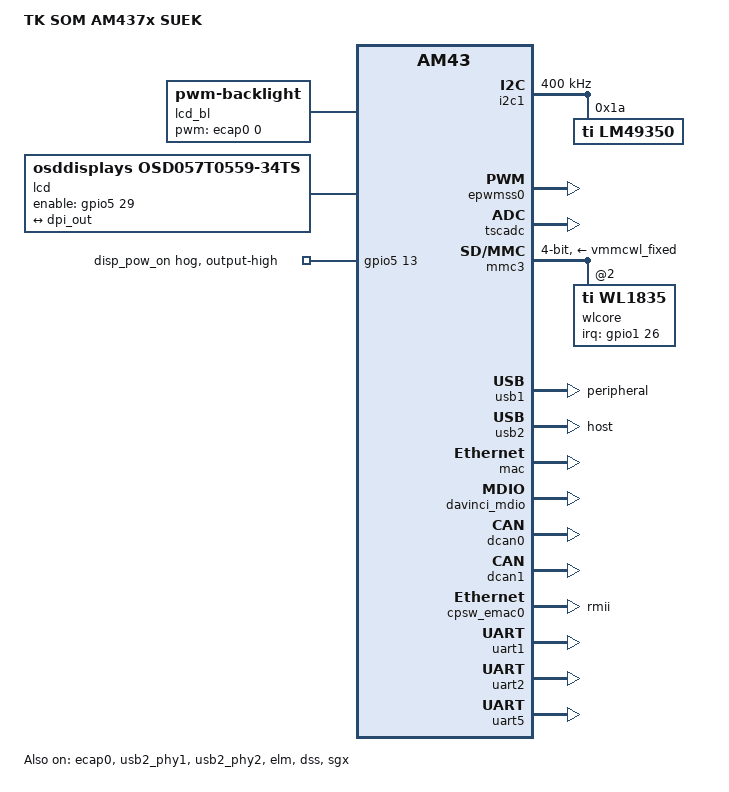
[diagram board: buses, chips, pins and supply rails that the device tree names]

/dts-v1/;

#include "am4372.dtsi"
#include "tk-som-am43xx.dtsi"
#include <dt-bindings/pinctrl/am43xx.h>
#include <dt-bindings/pwm/pwm.h>
#include <dt-bindings/gpio/gpio.h>
#include <dt-bindings/input/input.h>

/ {

	model = "TK SOM AM437x SUEK";
	compatible = "technokom,suek","ti,am4378","ti,am43";

	aliases {
		display0 = &lcd0;
	};


	lcd_bl: backlight {
		compatible = "pwm-backlight";
		pwms = <&ecap0 0 50000 0>;
		brightness-levels = <0 10 20 30 40 50 60 70 80 90 100 124 155 186 217 255>;
		default-brightness-level = <15>;
	};

	lcd0: display {
		compatible = "osddisplays,osd057T0559-34ts", "panel-dpi";
		label = "lcd";
		
		pinctrl-names = "default";
		pinctrl-0 = <&lvds_pin_shutdown>;
		enable-gpios = <&gpio5 29 GPIO_ACTIVE_HIGH>;

		panel-timing {
			clock-frequency = <33000000>;
			hactive = <1024>;
			vactive = <600>;
			hfront-porch = <210>;
			hback-porch = <16>;
			hsync-len = <30>;
			vback-porch = <10>;
			vfront-porch = <22>;
			vsync-len = <13>;
			hsync-active = <0>;
			vsync-active = <0>;
			de-active = <1>;
			pixelclk-active = <1>;
		};

		port {
			lcd_in: endpoint {
				remote-endpoint = <&dpi_out>;
			};
		};
	};

	sound0: sound@0 {
		compatible = "simple-audio-card";
		simple-audio-card,name = "AM437x-TK";
		simple-audio-card,widgets =
			"Headphone", "Headphone Jack",
			"Line", "Line In",
			"Speaker", "Speaker";
		simple-audio-card,routing =
			"Headphone Jack", "HPLOUT",
			"Headphone Jack", "HPROUT",
			"LINE1L", "Line In",
			"LINE1R", "Line In",
			"Speaker", "SPL",
			"Speaker", "SPR";
		simple-audio-card,format = "dsp_b";
		simple-audio-card,bitclock-master = <&sound0_master>;
		simple-audio-card,frame-master = <&sound0_master>;
		simple-audio-card,bitclock-inversion;

		simple-audio-card,cpu {
			sound-dai = <&mcasp1>;
			system-clock-frequency = <12000000>;
		};

		sound0_master: simple-audio-card,codec {
			sound-dai = <&lm49350>;
			system-clock-frequency = <12000000>;
		};
	};

};

&am43xx_pinmux {
	pinctrl-names = "default", "sleep";
	pinctrl-0 = <&wlan_pins_default>;


	dcan0_default: dcan0_default_pins {
		pinctrl-single,pins = <
			AM4372_IOPAD(0x91c, PIN_OUTPUT | MUX_MODE1)		/* (C16) mii1_txd3.dcan0_tx */
			AM4372_IOPAD(0x920, PIN_INPUT_PULLUP | MUX_MODE1)	/* (C13) mii1_txd2.dcan0_rx */
		>;
	};

	dcan0_sleep: dcan0_sleep_pins {
		pinctrl-single,pins = <
			AM4372_IOPAD(0x91c, PIN_INPUT_PULLUP | MUX_MODE7)	/* (C16) mii1_txd3 */
			AM4372_IOPAD(0x920, PIN_INPUT_PULLUP | MUX_MODE7)	/* (C13) mii1_txd2 */
		>;
	};

	dcan1_default: dcan1_default_pins {
		pinctrl-single,pins = <
			AM4372_IOPAD(0x980, PIN_OUTPUT | MUX_MODE2)		/* uart1_rxd.d_can1_tx */
			AM4372_IOPAD(0x984, PIN_INPUT_PULLUP | MUX_MODE2)	/* uart1_txd.d_can1_rx */
		>;
	};

	dcan1_sleep: dcan1_sleep_pins {
		pinctrl-single,pins = <
			AM4372_IOPAD(0x980, PIN_INPUT_PULLUP | MUX_MODE7)	/* uart1_rxd.gpio0_14 */
			AM4372_IOPAD(0x984, PIN_INPUT_PULLUP | MUX_MODE7)	/* uart1_txd.gpio0_15 */
		>;
	};

	i2c1_pins_default: i2c1_pins_default {
		pinctrl-single,pins = <
			AM4372_IOPAD(0xa40, PIN_INPUT_PULLUP | SLEWCTRL_FAST | MUX_MODE1)  /* (G20) gpio5_10.I2C1_SCL */
			AM4372_IOPAD(0xa48, PIN_INPUT_PULLUP | SLEWCTRL_FAST | MUX_MODE1)  /* (E25) gpio5_12.I2C1_SDA */
		>;
	};

	mmc2_pins: pinmux_mmc2_pins {
		pinctrl-single,pins = <
			AM4372_IOPAD(0x88c, PIN_INPUT_PULLUP | MUX_MODE3 ) /* (A12) gpmc_clk.mmc2_clk */
			AM4372_IOPAD(0x888, PIN_INPUT_PULLUP | MUX_MODE3 ) /* (B12) gpmc_csn3.mmc2_cmd */
			AM4372_IOPAD(0x844, PIN_INPUT_PULLUP | MUX_MODE3 ) /* (C5) gpmc_a1.mmc2_dat0 */
			AM4372_IOPAD(0x848, PIN_INPUT_PULLUP | MUX_MODE3 ) /* (C6) gpmc_a2.mmc2_dat1 */
			AM4372_IOPAD(0x84c, PIN_INPUT_PULLUP | MUX_MODE3 ) /* (A4) gpmc_a3.mmc2_dat2 */
			AM4372_IOPAD(0x878, PIN_INPUT_PULLUP | MUX_MODE3 ) /* (A3) gpmc_be1n.mmc2_dat3 */
		>;
	};

	mmc2_sleep_pins: pinmux_mmc2_sleep_pins {
		pinctrl-single,pins = <
			AM4372_IOPAD(0x88c, PIN_INPUT_PULLDOWN | MUX_MODE7) /* (A12) gpmc_clk.mmc2_clk */
			AM4372_IOPAD(0x888, PIN_INPUT_PULLDOWN | MUX_MODE7) /* (B12) gpmc_csn3.mmc2_cmd */
			AM4372_IOPAD(0x844, PIN_INPUT_PULLDOWN | MUX_MODE7) /* (C5) gpmc_a1.mmc2_dat0 */
			AM4372_IOPAD(0x848, PIN_INPUT_PULLDOWN | MUX_MODE7) /* (C6) gpmc_a2.mmc2_dat1 */
			AM4372_IOPAD(0x84c, PIN_INPUT_PULLDOWN | MUX_MODE7) /* (A4) gpmc_a3.mmc2_dat2 */
			AM4372_IOPAD(0x878, PIN_INPUT_PULLDOWN | MUX_MODE7) /* (A3) gpmc_be1n.mmc2_dat3 */
		>;
	};

	ecap0_pins_default: backlight_pins_default {
		pinctrl-single,pins = <
			AM4372_IOPAD(0x964, PIN_OUTPUT_PULLUP | MUX_MODE0)       /* eCAP0_in_PWM0_out MODE0 */
		>;
	};

	ecap0_pins_sleep: backlight_pins_sleep {
		pinctrl-single,pins = <
			AM4372_IOPAD(0x964, MUX_MODE7)
		>;
	};


	cpsw_default: cpsw_default {
		pinctrl-single,pins = <
			AM4372_IOPAD(0x90c, PIN_INPUT_PULLUP | MUX_MODE1 ) /* (B14) mii1_crs.rmii1_crs_dv */
			AM4372_IOPAD(0x910, PIN_INPUT_PULLUP | MUX_MODE1 ) /* (B13) mii1_rx_er.rmii1_rxer */
			AM4372_IOPAD(0x914, PIN_OUTPUT_PULLDOWN | MUX_MODE1 ) /* (A13) mii1_tx_en.rmii1_txen */
			AM4372_IOPAD(0x928, PIN_OUTPUT_PULLDOWN | MUX_MODE1 ) /* (B15) mii1_txd0.rmii1_txd0 */
			AM4372_IOPAD(0x924, PIN_OUTPUT_PULLDOWN | MUX_MODE1 ) /* (A14) mii1_txd1.rmii1_txd1 */
			AM4372_IOPAD(0x940, PIN_INPUT | MUX_MODE1 ) /* (F17) mii1_rxd0.rmii1_rxd0 */
			AM4372_IOPAD(0x93c, PIN_INPUT | MUX_MODE1 ) /* (B16) mii1_rxd1.rmii1_rxd1 */
			AM4372_IOPAD(0x944, PIN_INPUT_PULLUP | MUX_MODE0 ) /* (A16) rmii1_ref_clk.rmii1_refclk */

		>;
	};

	cpsw_sleep: cpsw_sleep {
		pinctrl-single,pins = <
			AM4372_IOPAD(0x90c, PIN_INPUT_PULLDOWN | MUX_MODE7 )
			AM4372_IOPAD(0x910, PIN_INPUT_PULLDOWN | MUX_MODE7 )
			AM4372_IOPAD(0x914, PIN_INPUT_PULLDOWN | MUX_MODE7 )
			AM4372_IOPAD(0x928, PIN_INPUT_PULLDOWN | MUX_MODE7 )
			AM4372_IOPAD(0x924, PIN_INPUT_PULLDOWN | MUX_MODE7 )
			AM4372_IOPAD(0x940, PIN_INPUT_PULLDOWN | MUX_MODE7 )
			AM4372_IOPAD(0x93c, PIN_INPUT_PULLDOWN | MUX_MODE7 )
			AM4372_IOPAD(0x944, PIN_INPUT_PULLDOWN | MUX_MODE7 )
		>;
	};

	davinci_mdio_default: davinci_mdio_default {
		pinctrl-single,pins = <
			/* MDIO */
			AM4372_IOPAD(0x948, PIN_INPUT_PULLUP | SLEWCTRL_FAST | MUX_MODE0)	/* mdio_data.mdio_data */
			AM4372_IOPAD(0x94c, PIN_OUTPUT_PULLUP | MUX_MODE0)			/* mdio_clk.mdio_clk */
		>;
	};

	davinci_mdio_sleep: davinci_mdio_sleep {
		pinctrl-single,pins = <
			/* MDIO reset value */
			AM4372_IOPAD(0x948, PIN_INPUT | PULL_DISABLE | MUX_MODE7)
			AM4372_IOPAD(0x94c, PIN_INPUT | PULL_DISABLE | MUX_MODE7)
		>;
	};

	dss_pins: dss_pins {
		pinctrl-single,pins = <
            AM4372_IOPAD(0x8e0, PIN_OUTPUT_PULLUP | MUX_MODE0) /* (B23) dss_vsync.dss_vsync */
            AM4372_IOPAD(0x8e4, PIN_OUTPUT_PULLUP | MUX_MODE0) /* (A23) dss_hsync.dss_hsync */
            AM4372_IOPAD(0x8e8, PIN_OUTPUT_PULLUP | MUX_MODE0) /* (A22) dss_pclk.dss_pclk */
            AM4372_IOPAD(0x8ec, PIN_OUTPUT_PULLUP | MUX_MODE0) /* (A24) dss_ac_bias_en.dss_ac_bias_en */
            AM4372_IOPAD(0x8a0, PIN_OUTPUT_PULLUP | MUX_MODE0) /* (B22) dss_data0.dss_data0 */
            AM4372_IOPAD(0x8a4, PIN_OUTPUT_PULLUP | MUX_MODE0) /* (A21) dss_data1.dss_data1 */
            AM4372_IOPAD(0x8a8, PIN_OUTPUT_PULLUP | MUX_MODE0) /* (B21) dss_data2.dss_data2 */
            AM4372_IOPAD(0x8ac, PIN_OUTPUT_PULLUP | MUX_MODE0) /* (C21) dss_data3.dss_data3 */
            AM4372_IOPAD(0x8b0, PIN_OUTPUT_PULLUP | MUX_MODE0) /* (A20) dss_data4.dss_data4 */
            AM4372_IOPAD(0x8b4, PIN_OUTPUT_PULLUP | MUX_MODE0) /* (B20) dss_data5.dss_data5 */
            AM4372_IOPAD(0x8b8, PIN_OUTPUT_PULLUP | MUX_MODE0) /* (C20) dss_data6.dss_data6 */
            AM4372_IOPAD(0x8bc, PIN_OUTPUT_PULLUP | MUX_MODE0) /* (E19) dss_data7.dss_data7 */
            AM4372_IOPAD(0x8c0, PIN_OUTPUT_PULLUP | MUX_MODE0) /* (A19) dss_data8.dss_data8 */
            AM4372_IOPAD(0x8c4, PIN_OUTPUT_PULLUP | MUX_MODE0) /* (B19) dss_data9.dss_data9 */
            AM4372_IOPAD(0x8c8, PIN_OUTPUT_PULLUP | MUX_MODE0) /* (A18) dss_data10.dss_data10 */
            AM4372_IOPAD(0x8cc, PIN_OUTPUT_PULLUP | MUX_MODE0) /* (B18) dss_data11.dss_data11 */
            AM4372_IOPAD(0x8d0, PIN_OUTPUT_PULLUP | MUX_MODE0) /* (C19) dss_data12.dss_data12 */
            AM4372_IOPAD(0x8d4, PIN_OUTPUT_PULLUP | MUX_MODE0) /* (D19) dss_data13.dss_data13 */
            AM4372_IOPAD(0x8d8, PIN_OUTPUT_PULLUP | MUX_MODE0) /* (C17) dss_data14.dss_data14 */
            AM4372_IOPAD(0x8dc, PIN_OUTPUT_PULLUP | MUX_MODE0) /* (D17) dss_data15.dss_data15 */
            AM4372_IOPAD(0x83c, PIN_OUTPUT_PULLUP | MUX_MODE1) /* (A11) gpmc_ad15.dss_data16 */
            AM4372_IOPAD(0x838, PIN_OUTPUT_PULLUP | MUX_MODE1) /* (B11) gpmc_ad14.dss_data17 */
		>;
	};

	
	dss_pin_enable: dss_pin_enable {
		pinctrl-single,pins = <
			AM4372_IOPAD(0xa4c, PIN_OUTPUT_PULLUP | MUX_MODE7)

		>;
	};

	lvds_pin_shutdown: lvds_pin_shutdown {
		pinctrl-single,pins = <
			AM4372_IOPAD(0xa74, PIN_OUTPUT_PULLUP | MUX_MODE9)

		>;
	};

    uart1_pins_default: uart1_pins_default {
		pinctrl-single,pins = <
			AM4372_IOPAD(0x9e8, PIN_INPUT_PULLUP | MUX_MODE1) /* (AB20) cam1_data0.uart1_rxd */
			AM4372_IOPAD(0x9ec, PIN_OUTPUT | MUX_MODE1) /* (AC21) cam1_data1.uart1_txd */
			AM4372_IOPAD(0x9f0, PIN_INPUT_PULLUP | MUX_MODE1) /* (AD21) cam1_data2.uart1_ctsn */
			AM4372_IOPAD(0x9f4, PIN_OUTPUT | MUX_MODE1) /* (AE22) cam1_data3.uart1_rtsn */
			AM4372_IOPAD(0xa00, PIN_INPUT | MUX_MODE1) /* (AD23) cam1_data6.uart1_dcdn */
			AM4372_IOPAD(0x9fc, PIN_INPUT | MUX_MODE1) /* (AE23) cam1_data5.uart1_dsrn */
			AM4372_IOPAD(0xa04, PIN_OUTPUT | MUX_MODE1) /* (AE24) cam1_data7.uart1_dtrn */
			AM4372_IOPAD(0x9f8, PIN_INPUT | MUX_MODE1) /* (AD22) cam1_data4.uart1_rin */
		>;
	};

	/* Optional sleep pin settings. Must manually enter values in the below skeleton. */
	uart1_pins_sleep: uart1_pins_sleep {
		pinctrl-single,pins = <
			AM4372_IOPAD(0x9e8, PIN_INPUT_PULLDOWN | MUX_MODE7 ) /* (AB20) cam1_data0.uart1_rxd */
			AM4372_IOPAD(0x9ec, PIN_INPUT_PULLDOWN | MUX_MODE7 ) /* (AC21) cam1_data1.uart1_txd */
			AM4372_IOPAD(0x9f0, PIN_INPUT_PULLDOWN | MUX_MODE7 ) /* (AD21) cam1_data2.uart1_ctsn */
			AM4372_IOPAD(0x9f4, PIN_INPUT_PULLDOWN | MUX_MODE7 ) /* (AE22) cam1_data3.uart1_rtsn */
			AM4372_IOPAD(0xa00, PIN_INPUT_PULLDOWN | MUX_MODE7 ) /* (AD23) cam1_data6.uart1_dcdn */
			AM4372_IOPAD(0x9fc, PIN_INPUT_PULLDOWN | MUX_MODE7 ) /* (AE23) cam1_data5.uart1_dsrn */
			AM4372_IOPAD(0xa04, PIN_INPUT_PULLDOWN | MUX_MODE7 ) /* (AE24) cam1_data7.uart1_dtrn */
			AM4372_IOPAD(0x9f8, PIN_INPUT_PULLDOWN | MUX_MODE7 ) /* (AD22) cam1_data4.uart1_rin */
		>;
	};

    uart2_pins: uart2_pins {
        pinctrl-single,pins = <
		    AM4372_IOPAD(0x92c, PIN_INPUT_PULLUP | MUX_MODE1 ) /* (D14) mii1_tx_clk.uart2_rxd */
    		AM4372_IOPAD(0x930, PIN_OUTPUT_PULLDOWN | MUX_MODE1 ) /* (D13) mii1_rx_clk.uart2_txd */
    		AM4372_IOPAD(0x834,  PIN_OUTPUT_PULLDOWN | MUX_MODE7 ) /* (F7) gpmc_a8.gpio1[24] */
	    >;
    };

    uart5_pins: uart5_pins {
        pinctrl-single,pins = <
    		AM4372_IOPAD(0x908, PIN_INPUT_PULLUP | MUX_MODE3 ) /* (D16) mii1_col.uart5_rxd */
    		AM4372_IOPAD(0x918, PIN_OUTPUT_PULLDOWN | MUX_MODE3 ) /* (A15) mii1_rx_dv.uart5_txd */
	    >;
    };

	wlan_pins_default: pinmux_wlan_pins_default {
		pinctrl-single,pins = <
			AM4372_IOPAD(0x868, PIN_INPUT  | WAKEUP_ENABLE | MUX_MODE7 ) /* (G8) gpmc_a10.gpio1[26] */
			AM4372_IOPAD(0x858, PIN_OUTPUT | MUX_MODE7 ) /* (E8) gpmc_a6.gpio1[22] */
			AM4372_IOPAD(0x85c, PIN_OUTPUT | MUX_MODE7 ) /* (F6) gpmc_a7.gpio1[23] */
			AM4372_IOPAD(0x890, PIN_OUTPUT | MUX_MODE7 ) /* (A9) gpmc_advn_ale.gpio2[2] power wifi enable*/
		>;
	};

};

&i2c1 {
	status = "okay";
	pinctrl-names = "default", "sleep";
	pinctrl-0 = <&i2c1_pins_default>;
	clock-frequency = <400000>;


	lm49350: lm49350@1a {
		#sound-dai-cells = <0>;
		compatible = "ti,lm49350";
		reg = <0x1a>;
		status = "okay";
		/*
        power-amp-gpios = <&gpio5 3 GPIO_ACTIVE_HIGH>;
		sd-amp-gpios    = <&gpio5 13 GPIO_ACTIVE_HIGH>;
        */
	};
};

&epwmss0	 {
	status = "okay";
};

&tscadc {
	status = "okay";

	tsc {
		ti,wires = <4>;
		ti,x-plate-resistance = <760>;
		ti,coordinate-readouts = <5>;
		ti,wire-config = <0x00 0x11 0x22 0x33>;
		ti,charge-delay = <0x400>;
	};

	adc {
		ti,adc-channels = <4 5 6 7>;
	};
};

&mmc3 {
	status = "okay";
	dmas = <&edma_xbar 30 0 1>,
		<&edma_xbar 31 0 2>;
	dma-names = "tx", "rx";
	vmmc-supply = <&vmmcwl_fixed>;

	bus-width = <4>;
	pinctrl-names = "default", "sleep";
	pinctrl-0 = <&mmc2_pins>;
	pinctrl-1 = <&mmc2_sleep_pins>;
	cap-power-off-card;
	keep-power-in-suspend;
	#address-cells = <1>;
	#size-cells = <0>;

	wlcore: wlcore@0 {
		compatible = "ti,wl1835";
		reg = <2>;
		interrupt-parent = <&gpio1>;
		interrupts = <26 IRQ_TYPE_LEVEL_HIGH>;
	};
};

&ecap0 {
	status = "okay";
	pinctrl-names = "default";
	pinctrl-0 = <&ecap0_pins_default>;
};

&gpio0 {
	status = "okay";
};

&gpio1 {
	status = "okay";
};

&gpio2 {
	status = "okay";
};

&gpio3 {
	status = "okay";
};

&gpio4 {
	status = "okay";
};

&gpio5 {
	status = "okay";
	pinctrl-0 = <&dss_pin_enable>;
	p13 {
		gpio-hog;
		gpios = <13 GPIO_ACTIVE_HIGH>;
		output-high;
		line-name = "disp_pow_on";
	};
};

&usb2_phy1 {
	status = "okay";
};

&usb1 {
	dr_mode = "peripheral";
	status = "okay";
};

&usb2_phy2 {
	status = "okay";
};

&usb2 {
	dr_mode = "host";
	status = "okay";
};

&mac {
	slaves = <1>;
	pinctrl-names = "default", "sleep";
	pinctrl-0 = <&cpsw_default>;
	pinctrl-1 = <&cpsw_sleep>;
	status = "okay";
};

&davinci_mdio {
	pinctrl-names = "default", "sleep";
	pinctrl-0 = <&davinci_mdio_default>;
	pinctrl-1 = <&davinci_mdio_sleep>;
	status = "okay";
};

&dcan0 {
	pinctrl-names = "default", "sleep";
	pinctrl-0 = <&dcan0_default>;
	pinctrl-1 = <&dcan0_sleep>;
	status = "okay";
};

&dcan1 {
	pinctrl-names = "default", "sleep";
	pinctrl-0 = <&dcan1_default>;
	pinctrl-1 = <&dcan1_sleep>;
	status = "okay";
};

&cpsw_emac0 {
	phy_id = <&davinci_mdio>, <7>;
	phy-mode = "rmii";
};

&phy_sel {
	rmii-clock-ext;
};

&elm {
	status = "okay";
};


&uart1 {
	status = "okay";
	pinctrl-names = "default";
	pinctrl-0 = <&uart1_pins_default>;
};


&uart2 {
    compatible = "ti,omap2-uart-legacy";
	status = "okay";
	pinctrl-names = "default";
	pinctrl-0 = <&uart2_pins>;
    rts-gpio = <&gpio1 24 GPIO_ACTIVE_HIGH>;
    rs485-rts-active-high;
    rs485-rts-delay = <0 0>;
    linux,rs485-enabled-at-boot-time;
};

&uart5 {
	status = "okay";
	pinctrl-names = "default";
	pinctrl-0 = <&uart5_pins>;
};

&dss {
	status = "okay";

	pinctrl-names = "default";
	pinctrl-0 = <&dss_pins>;

	port {
		dpi_out: endpoint@0 {
			remote-endpoint = <&lcd_in>;
			data-lines = <18>;
		};
	};
};


&rtc {
	status = "disabled";
};

&sgx {
	status = "okay";
};
